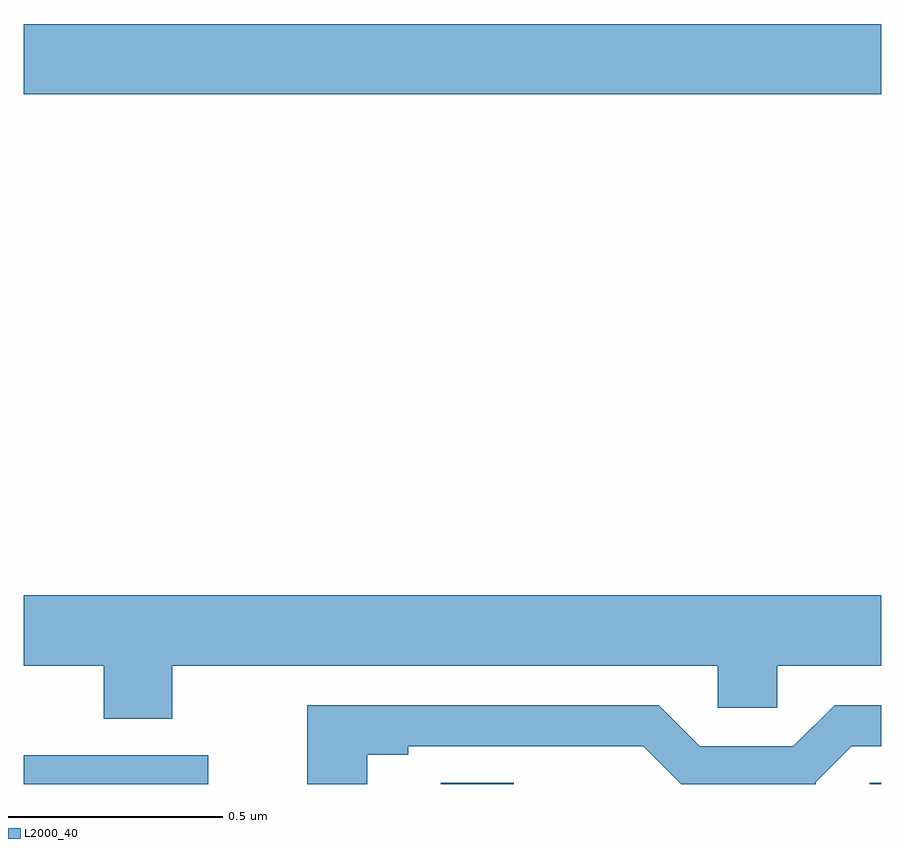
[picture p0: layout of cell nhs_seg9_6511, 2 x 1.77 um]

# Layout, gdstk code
import gdstk
lib = gdstk.Library(unit=1e-6, precision=1e-09)
def R(c, l, rs):  # rectangles x0, y0, x1, y1
    for r in rs: c.add(gdstk.rectangle(r[:2], r[2:], *l))
def P(c, l, *ps):  # polygons
    for p in ps: c.add(gdstk.Polygon(p, *l))
L2000_40 = (2000, 40)

nhs_seg9_6511 = lib.new_cell('nhs_seg9_6511')
R(nhs_seg9_6511, L2000_40, [(193,1173.5,193.431,1173.567), (193.973,1173.5,194.143,1173.503), (194.973,1173.5,195,1173.503), (193,1175.108,195,1175.272)])
P(nhs_seg9_6511, L2000_40, [(193.347,1173.776),(194.619,1173.776),(194.619,1173.678),(194.757,1173.678),(194.757,1173.776),(195,1173.776),(195,1173.94),(193,1173.94),(193,1173.776),(193.187,1173.776),(193.187,1173.652),(193.347,1173.652)],
  [(193.801,1173.568),(193.897,1173.568),(193.897,1173.588),(194.445,1173.588),(194.533,1173.5),(194.847,1173.5),(194.847,1173.504),(194.931,1173.588),(195,1173.588),(195,1173.684),(194.891,1173.684),(194.795,1173.588),(194.577,1173.588),(194.481,1173.684),(193.661,1173.684),(193.661,1173.5),(193.801,1173.5)])

lib.write_gds('nhs_seg9_6511.gds')
